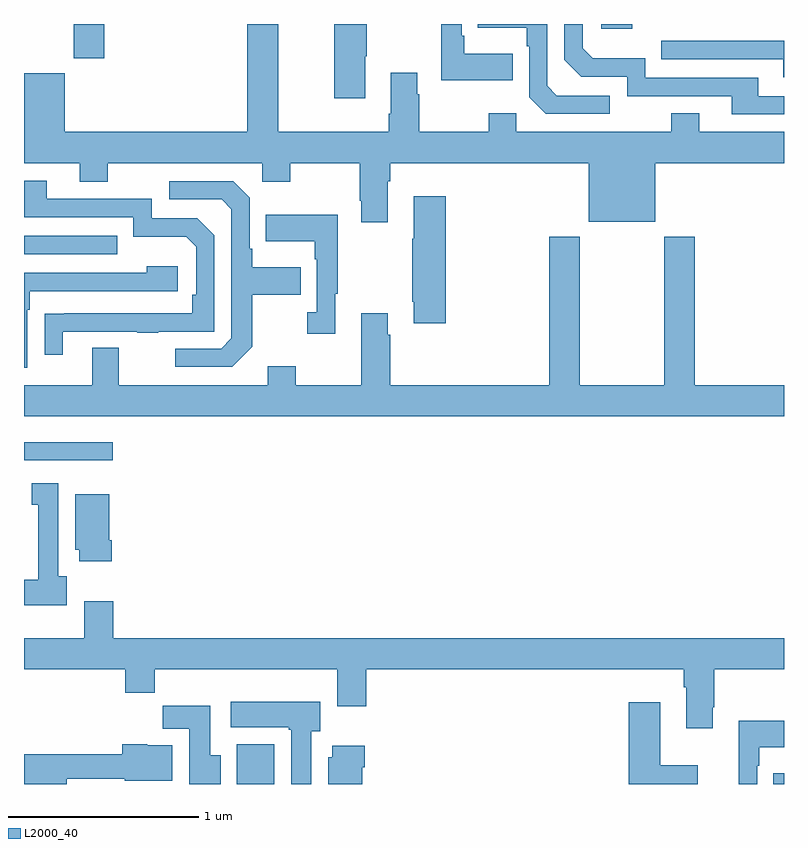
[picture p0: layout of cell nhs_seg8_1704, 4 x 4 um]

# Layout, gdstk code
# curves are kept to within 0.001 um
import gdstk
lib = gdstk.Library(unit=1e-6, precision=1e-09)
def R(c, l, rs):  # rectangles x0, y0, x1, y1
    for r in rs: c.add(gdstk.rectangle(r[:2], r[2:], *l))
def P(c, l, *ps):  # polygons
    for p in ps: c.add(gdstk.Polygon(p, *l))
L2000_40 = (2000, 40)

nhs_seg8_1704 = lib.new_cell('nhs_seg8_1704')
R(nhs_seg8_1704, L2000_40, [(220.121,1111.9,220.318,1112.11), (222.943,1111.9,223,1111.957), (219,1113.603,219.466,1113.7), (219,1114.689,219.491,1114.785), (219.262,1115.721,219.422,1115.9), (222.039,1115.876,222.2,1115.9)])
P(nhs_seg8_1704, L2000_40, [(222.082,1115.523),(221.805,1115.523),(221.754,1115.574),(221.754,1115.9),(221.389,1115.9),(221.389,1115.879),(221.646,1115.879),(221.646,1115.783),(221.658,1115.783),(221.658,1115.514),(221.745,1115.427),(222.082,1115.427)],
  [(221.573,1115.743),(221.317,1115.743),(221.317,1115.839),(221.304,1115.839),(221.304,1115.9),(221.196,1115.9),(221.196,1115.603),(221.573,1115.603)],
  [(223,1115.52),(222.865,1115.52),(222.865,1115.616),(222.27,1115.616),(222.27,1115.719),(221.993,1115.719),(221.94,1115.772),(221.94,1115.9),(221.844,1115.9),(221.844,1115.712),(221.934,1115.622),(222.174,1115.622),(222.174,1115.52),(222.725,1115.52),(222.725,1115.424),(223,1115.424)],
  [(220.795,1115.731),(220.803,1115.731),(220.803,1115.9),(220.633,1115.9),(220.633,1115.508),(220.795,1115.508)],
  [(220.915,1115.072),(220.928,1115.072),(220.928,1115.168),(221.972,1115.168),(221.972,1114.859),(222.322,1114.859),(222.322,1115.168),(223,1115.168),(223,1115.332),(222.553,1115.332),(222.553,1115.431),(222.406,1115.431),(222.406,1115.332),(221.592,1115.332),(221.592,1115.431),(221.446,1115.431),(221.446,1115.332),(221.079,1115.332),(221.079,1115.531),(221.071,1115.531),(221.071,1115.644),(220.931,1115.644),(220.931,1115.428),(220.919,1115.428),(220.919,1115.332),(220.339,1115.332),(220.339,1115.9),(220.175,1115.9),(220.175,1115.332),(219.214,1115.332),(219.214,1115.641),(219,1115.641),(219,1115.168),(219.293,1115.168),(219.293,1115.069),(219.441,1115.069),(219.441,1115.168),(220.254,1115.168),(220.254,1115.069),(220.401,1115.069),(220.401,1115.168),(220.768,1115.168),(220.768,1114.969),(220.775,1114.969),(220.775,1114.857),(220.915,1114.857)],
  [(223,1115.811),(222.355,1115.811),(222.355,1115.715),(222.995,1115.715),(222.995,1115.621),(223,1115.621)],
  [(219.205,1114.281),(219.595,1114.281),(219.595,1114.276),(219.707,1114.276),(219.707,1114.281),(220.002,1114.281),(220.002,1114.788),(219.912,1114.878),(219.672,1114.878),(219.672,1114.98),(219.121,1114.98),(219.121,1115.076),(219,1115.076),(219,1114.884),(219.576,1114.884),(219.576,1114.781),(219.853,1114.781),(219.906,1114.728),(219.906,1114.474),(219.886,1114.474),(219.886,1114.377),(219.109,1114.376),(219.109,1114.158),(219.205,1114.158)],
  [(220.201,1114.201),(220.201,1114.474),(220.457,1114.474),(220.457,1114.621),(220.201,1114.621),(220.201,1114.717),(220.188,1114.717),(220.188,1114.986),(220.101,1115.073),(219.765,1115.073),(219.765,1114.977),(220.041,1114.977),(220.092,1114.926),(220.092,1114.245),(220.038,1114.191),(219.795,1114.191),(219.795,1114.095),(220.095,1114.095)],
  [(221.219,1114.993),(221.051,1114.993),(221.051,1114.769),(221.044,1114.769),(221.044,1114.438),(221.051,1114.438),(221.051,1114.326),(221.219,1114.326)],
  [(220.639,1114.481),(220.651,1114.481),(220.651,1114.897),(220.273,1114.897),(220.273,1114.757),(220.53,1114.757),(220.53,1114.661),(220.542,1114.661),(220.542,1114.382),(220.491,1114.382),(220.491,1114.269),(220.639,1114.269)],
  [(219.018,1114.397),(219.031,1114.397),(219.031,1114.494),(219.808,1114.494),(219.808,1114.624),(219.647,1114.624),(219.647,1114.59),(219,1114.59),(219,1114.092),(219.018,1114.092)],
  [(222.37,1114.78),(222.37,1114),(221.925,1114),(221.925,1114.78),(221.765,1114.78),(221.765,1114),(220.928,1114),(220.928,1114.265),(220.915,1114.265),(220.915,1114.378),(220.775,1114.378),(220.775,1114),(220.431,1114),(220.431,1114.099),(220.283,1114.099),(220.283,1114),(219.499,1114),(219.499,1114.195),(219.359,1114.195),(219.359,1114),(219,1114),(219,1113.836),(223,1113.836),(223,1114),(222.53,1114),(222.53,1114.78)],
  [(219.226,1112.994),(219.181,1112.994),(219.181,1113.484),(219.041,1113.484),(219.041,1113.371),(219.074,1113.371),(219.074,1112.974),(219,1112.974),(219,1112.84),(219.226,1112.84)],
  [(219.461,1113.184),(219.448,1113.184),(219.448,1113.424),(219.269,1113.424),(219.269,1113.132),(219.29,1113.132),(219.29,1113.072),(219.461,1113.072)],
  [(222.625,1112.305),(222.633,1112.305),(222.633,1112.504),(223,1112.504),(223,1112.668),(219.47,1112.668),(219.47,1112.863),(219.317,1112.863),(219.317,1112.668),(219,1112.668),(219,1112.504),(219.533,1112.504),(219.533,1112.38),(219.689,1112.38),(219.689,1112.504),(220.649,1112.504),(220.649,1112.31),(220.802,1112.31),(220.802,1112.504),(222.473,1112.504),(222.473,1112.408),(222.485,1112.408),(222.485,1112.193),(222.625,1112.193)],
  [(220.513,1112.178),(220.558,1112.178),(220.558,1112.332),(220.089,1112.332),(220.089,1112.198),(220.393,1112.198),(220.393,1112.185),(220.406,1112.185),(220.406,1111.9),(220.513,1111.9)],
  [(222.547,1111.999),(222.349,1111.999),(222.349,1112.329),(222.182,1112.329),(222.182,1111.9),(222.547,1111.9)],
  [(220.036,1112.052),(219.979,1112.052),(219.979,1112.311),(219.73,1112.311),(219.73,1112.192),(219.869,1112.192),(219.869,1111.9),(220.036,1111.9)],
  [(222.858,1111.997),(222.871,1111.997),(222.871,1112.093),(223,1112.093),(223,1112.233),(222.761,1112.233),(222.761,1111.9),(222.858,1111.9)],
  [(219.226,1111.927),(219.53,1111.927),(219.53,1111.916),(219.781,1111.916),(219.781,1112.104),(219.648,1112.104),(219.648,1112.11),(219.518,1112.11),(219.518,1112.056),(219,1112.056),(219,1111.9),(219.226,1111.9)],
  [(220.78,1111.988),(220.793,1111.988),(220.793,1112.101),(220.622,1112.101),(220.622,1112.04),(220.601,1112.04),(220.601,1111.9),(220.78,1111.9)])

lib.write_gds('nhs_seg8_1704.gds')
